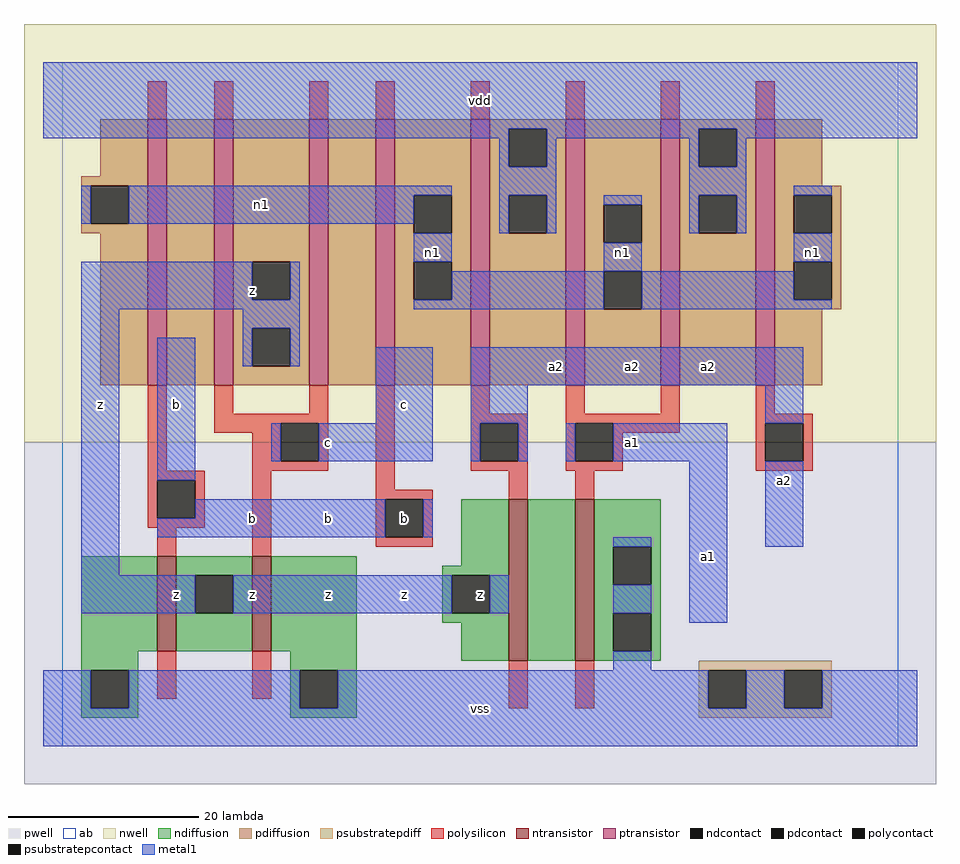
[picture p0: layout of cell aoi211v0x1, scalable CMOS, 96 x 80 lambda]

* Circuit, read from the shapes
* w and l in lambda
.subckt aoi211v0x1 a1 a2 b c n1 vdd vss z
M1 z b vss vss nfet w=10 l=2
M2 vss c z vss nfet w=10 l=2
M3 n2 a2 z vss nfet w=17 l=2
M4 vss a1 n2 vss nfet w=17 l=2
M5 n3 b n1 n4 pfet w=28 l=2
M6 z c n3 n4 pfet w=28 l=2
M7 n5 c z n4 pfet w=28 l=2
M8 n1 b n5 n4 pfet w=28 l=2
M9 vdd a2 n1 n4 pfet w=28 l=2 m=2
M10 n1 a1 vdd n4 pfet w=28 l=2 m=2
.ends

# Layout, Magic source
magic
tech scmos
<< ab >>
rect 0 0 88 72
<< pwell >>
rect -4 -4 92 32
<< nwell >>
rect -4 32 92 76
<< polysilicon >>
rect 9 66 11 70
rect 16 66 18 70
rect 26 66 28 70
rect 33 66 35 70
rect 43 66 45 70
rect 53 66 55 70
rect 63 66 65 70
rect 73 66 75 70
rect 9 29 11 38
rect 16 35 18 38
rect 26 35 28 38
rect 16 34 28 35
rect 16 33 23 34
rect 20 30 23 33
rect 27 30 28 34
rect 20 29 28 30
rect 9 28 15 29
rect 9 24 10 28
rect 14 24 15 28
rect 9 23 15 24
rect 10 20 12 23
rect 20 20 22 29
rect 33 27 35 38
rect 43 35 45 38
rect 53 35 55 38
rect 63 35 65 38
rect 43 34 49 35
rect 43 30 44 34
rect 48 30 49 34
rect 43 29 49 30
rect 53 34 65 35
rect 53 30 54 34
rect 58 33 65 34
rect 73 35 75 38
rect 73 34 79 35
rect 58 30 59 33
rect 53 29 59 30
rect 73 30 74 34
rect 78 30 79 34
rect 73 29 79 30
rect 33 26 39 27
rect 47 26 49 29
rect 54 26 56 29
rect 33 22 34 26
rect 38 22 39 26
rect 33 21 39 22
rect 10 5 12 10
rect 20 5 22 10
rect 47 4 49 9
rect 54 4 56 9
<< ndiffusion >>
rect 2 10 10 20
rect 12 18 20 20
rect 12 14 14 18
rect 18 14 20 18
rect 12 10 20 14
rect 22 10 31 20
rect 42 19 47 26
rect 40 18 47 19
rect 40 14 41 18
rect 45 14 47 18
rect 40 13 47 14
rect 2 8 8 10
rect 2 4 3 8
rect 7 4 8 8
rect 24 8 31 10
rect 42 9 47 13
rect 49 9 54 26
rect 56 21 63 26
rect 56 17 58 21
rect 62 17 63 21
rect 56 14 63 17
rect 56 10 58 14
rect 62 10 63 14
rect 56 9 63 10
rect 2 3 8 4
rect 24 4 25 8
rect 29 4 31 8
rect 24 3 31 4
<< pdiffusion >>
rect 4 60 9 66
rect 2 59 9 60
rect 2 55 3 59
rect 7 55 9 59
rect 2 54 9 55
rect 4 38 9 54
rect 11 38 16 66
rect 18 51 26 66
rect 18 47 20 51
rect 24 47 26 51
rect 18 44 26 47
rect 18 40 20 44
rect 24 40 26 44
rect 18 38 26 40
rect 28 38 33 66
rect 35 58 43 66
rect 35 54 37 58
rect 41 54 43 58
rect 35 51 43 54
rect 35 47 37 51
rect 41 47 43 51
rect 35 38 43 47
rect 45 65 53 66
rect 45 61 47 65
rect 51 61 53 65
rect 45 58 53 61
rect 45 54 47 58
rect 51 54 53 58
rect 45 38 53 54
rect 55 57 63 66
rect 55 53 57 57
rect 61 53 63 57
rect 55 50 63 53
rect 55 46 57 50
rect 61 46 63 50
rect 55 38 63 46
rect 65 65 73 66
rect 65 61 67 65
rect 71 61 73 65
rect 65 58 73 61
rect 65 54 67 58
rect 71 54 73 58
rect 65 38 73 54
rect 75 59 80 66
rect 75 58 82 59
rect 75 54 77 58
rect 81 54 82 58
rect 75 51 82 54
rect 75 47 77 51
rect 81 47 82 51
rect 75 46 82 47
rect 75 38 80 46
<< metal1 >>
rect -2 65 90 72
rect -2 64 47 65
rect 46 61 47 64
rect 51 64 67 65
rect 51 61 52 64
rect 2 55 3 59
rect 7 58 41 59
rect 7 55 37 58
rect 46 58 52 61
rect 66 61 67 64
rect 71 64 90 65
rect 71 61 72 64
rect 66 58 72 61
rect 46 54 47 58
rect 51 54 52 58
rect 57 57 61 58
rect 37 51 41 54
rect 2 47 20 51
rect 24 47 25 51
rect 2 46 25 47
rect 66 54 67 58
rect 71 54 72 58
rect 77 58 81 59
rect 57 50 61 53
rect 77 51 81 54
rect 41 47 57 50
rect 37 46 57 47
rect 61 47 77 50
rect 61 46 81 47
rect 2 18 6 46
rect 19 44 25 46
rect 10 28 14 43
rect 19 40 20 44
rect 24 40 25 44
rect 33 34 39 42
rect 22 30 23 34
rect 27 30 39 34
rect 43 38 78 42
rect 43 34 49 38
rect 74 34 78 38
rect 43 30 44 34
rect 48 30 49 34
rect 53 30 54 34
rect 58 30 70 34
rect 14 24 34 26
rect 10 22 34 24
rect 38 22 39 26
rect 58 21 62 22
rect 2 14 14 18
rect 18 14 41 18
rect 45 14 47 18
rect 58 14 62 17
rect 66 13 70 30
rect 74 21 78 30
rect 58 8 62 10
rect -2 4 3 8
rect 7 4 25 8
rect 29 4 68 8
rect 72 4 76 8
rect 80 4 90 8
rect -2 0 90 4
<< ntransistor >>
rect 10 10 12 20
rect 20 10 22 20
rect 47 9 49 26
rect 54 9 56 26
<< ptransistor >>
rect 9 38 11 66
rect 16 38 18 66
rect 26 38 28 66
rect 33 38 35 66
rect 43 38 45 66
rect 53 38 55 66
rect 63 38 65 66
rect 73 38 75 66
<< polycontact >>
rect 23 30 27 34
rect 10 24 14 28
rect 44 30 48 34
rect 54 30 58 34
rect 74 30 78 34
rect 34 22 38 26
<< ndcontact >>
rect 14 14 18 18
rect 41 14 45 18
rect 3 4 7 8
rect 58 17 62 21
rect 58 10 62 14
rect 25 4 29 8
<< pdcontact >>
rect 3 55 7 59
rect 20 47 24 51
rect 20 40 24 44
rect 37 54 41 58
rect 37 47 41 51
rect 47 61 51 65
rect 47 54 51 58
rect 57 53 61 57
rect 57 46 61 50
rect 67 61 71 65
rect 67 54 71 58
rect 77 54 81 58
rect 77 47 81 51
<< psubstratepcontact >>
rect 68 4 72 8
rect 76 4 80 8
<< psubstratepdiff >>
rect 67 8 81 9
rect 67 4 68 8
rect 72 4 76 8
rect 80 4 81 8
rect 67 3 81 4
<< labels >>
rlabel metal1 12 16 12 16 6 z
rlabel metal1 4 36 4 36 6 z
rlabel metal1 12 36 12 36 6 b
rlabel metal1 20 16 20 16 6 z
rlabel metal1 28 16 28 16 6 z
rlabel metal1 20 24 20 24 6 b
rlabel metal1 28 24 28 24 6 b
rlabel metal1 28 32 28 32 6 c
rlabel metal1 20 48 20 48 6 z
rlabel metal1 44 4 44 4 6 vss
rlabel ndcontact 44 16 44 16 6 z
rlabel metal1 36 16 36 16 6 z
rlabel polycontact 36 24 36 24 6 b
rlabel metal1 36 36 36 36 6 c
rlabel metal1 39 52 39 52 6 n1
rlabel metal1 21 57 21 57 6 n1
rlabel metal1 44 68 44 68 6 vdd
rlabel metal1 68 20 68 20 6 a1
rlabel metal1 60 32 60 32 6 a1
rlabel metal1 52 40 52 40 6 a2
rlabel metal1 60 40 60 40 6 a2
rlabel metal1 68 40 68 40 6 a2
rlabel metal1 59 52 59 52 6 n1
rlabel metal1 76 28 76 28 6 a2
rlabel metal1 79 52 79 52 6 n1
<< end >>
